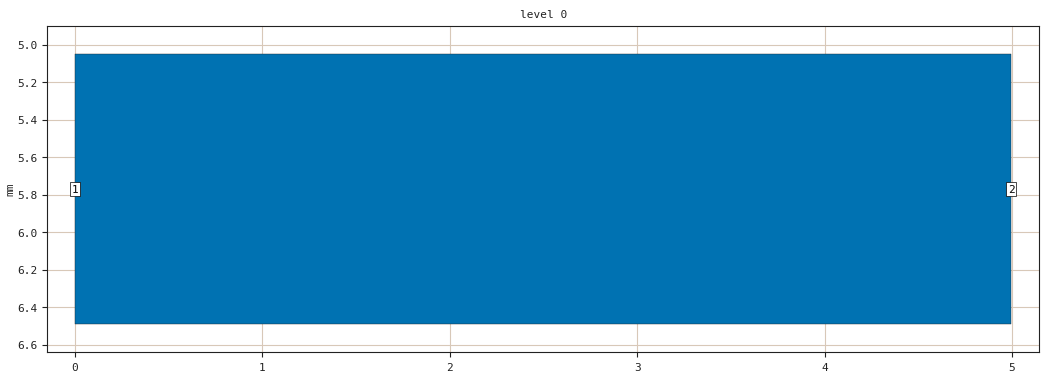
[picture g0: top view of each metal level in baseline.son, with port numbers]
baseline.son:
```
FTYP SONPROJ 19
DIM
ANG DEG
CAP PF
CON /OH
FREQ GHZ
IND NH
LNG MM
RES OH
END DIM
CONTROL
VARSWP
OPTIONS
SPEED 0
SUBSPLAM N 100
END CONTROL
GEO
TMET "Lossless" 0 SUP 0 0 0 0
BMET "Lossless" 0 SUP 0 0 0 0
BOX 1 4.996541 11.539117 128 128 100 0
0.5 1 1 0 0 0 2 "Air"
0.5 1 1 0 0 0 2 "Air"
POR1 STD
POLY 9 1
3
1 50 0 0 0 0 5.7695584
POR1 STD
POLY 9 1
1
2 50 0 0 0 4.996541 5.7695584
NUM 1
0 5 -1 N 9 1 1 100 100 0 0 0 Y
0.0 5.0483636
4.996541 5.0483636
4.996541 6.4907532
0.0 6.4907532
0.0 5.0483636
END
END GEO
VARSWP
ENABLED Y
FREQ Y AN SWEEP 1
END
FREQ Y AN SWEEP 5
END
FREQ Y AN SWEEP 10
END
END VARSWP

FILEOUT
TOUCH ND Y baseline.s2p IC 15 S RI R 50
FOLDER .
END FILEOUT
```
